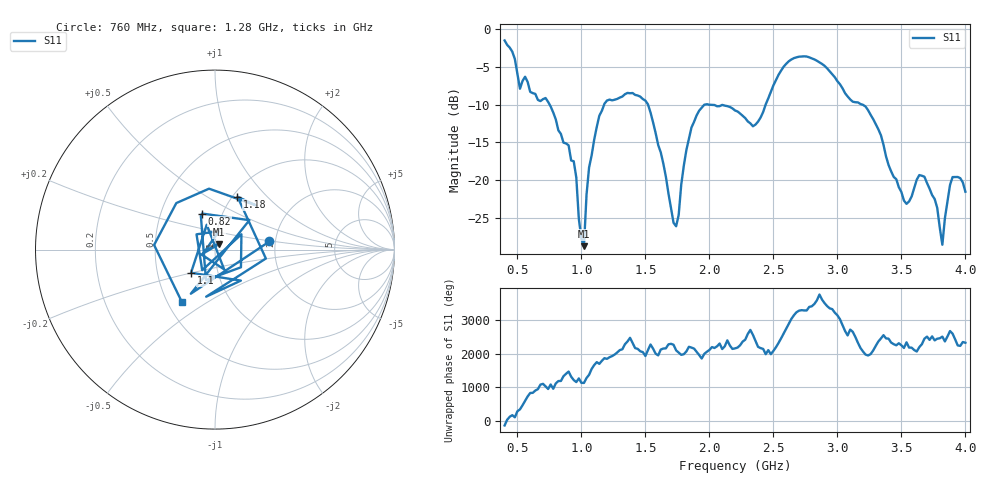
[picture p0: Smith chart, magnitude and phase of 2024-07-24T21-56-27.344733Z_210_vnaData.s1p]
!Created with skrf (http://scikit-rf.org).
# Hz S RI R 50.0
!freq ReS11 ImS11
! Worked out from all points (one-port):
!   181 points, 400 MHz to 4 GHz, reference 50 ohm
!   lowest |S11| = -28.7 dB at 1.02 GHz (marker M1), VSWR 1.08, Z = 52.1 + j3.11 ohm
!   |S11| at or under -10 dB: 1.52 GHz to 1.967 GHz (446.6 MHz wide, 25.6 % of centre); 1.993 GHz to 2.44 GHz (446.5 MHz wide, 20.1 % of centre); 3.193 GHz to end of sweep (the widest 3 of 4)
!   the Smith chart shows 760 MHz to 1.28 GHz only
!   S11 on the Smith chart (normalised r, x): 760 MHz: 1.86, +0.19; 820 MHz: 0.80, +0.34; 1.1 GHz: 0.74, -0.20; 1.18 GHz: 1.05, +0.69; 1.28 GHz: 0.59, -0.39
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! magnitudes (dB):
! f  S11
! 400 MHz  -1.5
! 520 MHz  -7.9
! 760 MHz  -10.3
! 820 MHz  -13.4
! 860 MHz  -15.0
! 940 MHz  -17.5
! 1.02 GHz  -28.7
! 1.06 GHz  -18.3
! 1.1 GHz  -14.6
! 1.18 GHz  -9.9
! 1.28 GHz  -9.3
! 1.3 GHz  -9.1
! 1.52 GHz  -10.0
! 1.72 GHz  -25.6
! 1.76 GHz  -24.6
! 1.82 GHz  -16.0
! 1.92 GHz  -10.8
! 2.2 GHz  -10.8
! 2.36 GHz  -12.6
! 2.66 GHz  -3.9
! 3.1 GHz  -9.3
! 3.24 GHz  -10.8
! 3.56 GHz  -22.8
! 3.68 GHz  -19.5
! 3.78 GHz  -23.6
! 3.82 GHz  -28.5
! 3.9 GHz  -19.6
! 4 GHz  -21.5
